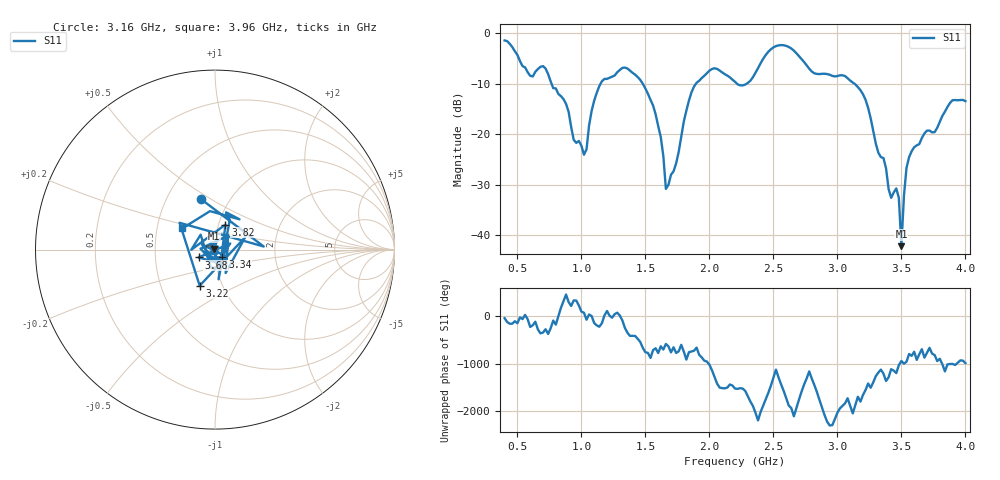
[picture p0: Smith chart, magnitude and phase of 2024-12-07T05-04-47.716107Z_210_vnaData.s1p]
!Created with skrf (http://scikit-rf.org).
# Hz S RI R 50.0
!freq ReS11 ImS11
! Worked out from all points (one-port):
!   181 points, 400 MHz to 4 GHz, reference 50 ohm
!   lowest |S11| = -42.2 dB at 3.5 GHz (marker M1), VSWR 1.02, Z = 49.4 + j0.545 ohm
!   |S11| at or under -10 dB: 766.2 MHz to 1.151 GHz (384.5 MHz wide, 40.1 % of centre); 1.479 GHz to 1.896 GHz (417.5 MHz wide, 24.7 % of centre); 3.131 GHz to end of sweep (the widest 3 of 4)
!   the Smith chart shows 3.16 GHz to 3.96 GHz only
!   S11 on the Smith chart (normalised r, x): 3.16 GHz: 0.74, +0.45; 3.22 GHz: 0.78, -0.33; 3.34 GHz: 1.08, -0.09; 3.68 GHz: 0.83, -0.07; 3.82 GHz: 1.08, +0.31; 3.96 GHz: 0.67, +0.17
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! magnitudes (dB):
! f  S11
! 400 MHz  -1.5
! 860 MHz  -13.1
! 940 MHz  -21.1
! 1.02 GHz  -24.1
! 1.14 GHz  -10.5
! 1.3 GHz  -7.3
! 1.56 GHz  -14.3
! 1.62 GHz  -20.6
! 1.66 GHz  -30.8
! 1.76 GHz  -23.5
! 1.9 GHz  -9.9
! 2.04 GHz  -7.0
! 2.2 GHz  -9.7
! 2.5 GHz  -2.9
! 2.66 GHz  -3.5
! 3.1 GHz  -9.4
! 3.16 GHz  -10.7
! 3.22 GHz  -13.2
! 3.34 GHz  -24.5
! 3.42 GHz  -32.6
! 3.48 GHz  -32.6
! 3.5 GHz  -42.2
! 3.52 GHz  -32.2
! 3.56 GHz  -24.6
! 3.68 GHz  -19.9
! 3.82 GHz  -16.4
! 3.96 GHz  -13.3
! 4 GHz  -13.5
